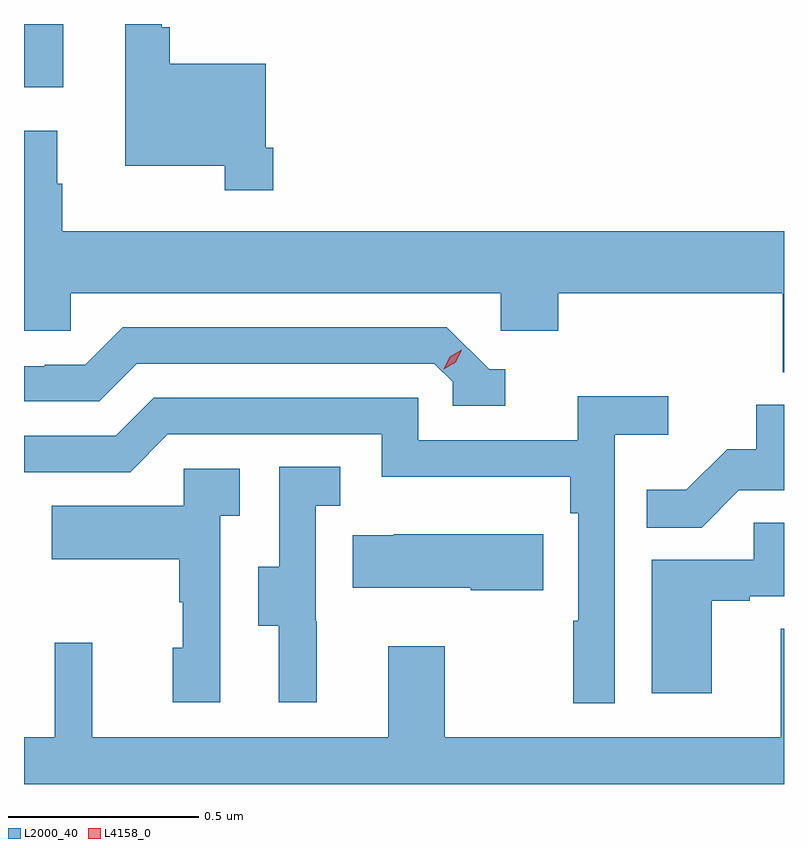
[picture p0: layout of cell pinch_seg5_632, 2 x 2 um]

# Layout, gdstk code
import gdstk
lib = gdstk.Library(unit=1e-6, precision=1e-09)
def R(c, l, rs):  # rectangles x0, y0, x1, y1
    for r in rs: c.add(gdstk.rectangle(r[:2], r[2:], *l))
def P(c, l, *ps):  # polygons
    for p in ps: c.add(gdstk.Polygon(p, *l))
L2000_40 = (2000, 40)
L4158_0 = (4158, 0)

pinch_seg5_632 = lib.new_cell('pinch_seg5_632')
R(pinch_seg5_632, L2000_40, [(1013.508,863.963,1013.611,864.129)])
P(pinch_seg5_632, L2000_40, [(1014.164,863.803),(1014.144,863.803),(1014.144,864.025),(1013.891,864.025),(1013.891,864.121),(1013.871,864.121),(1013.871,864.129),(1013.774,864.129),(1013.774,863.756),(1014.036,863.756),(1014.036,863.691),(1014.164,863.691)],
  [(1015.508,863.584),(1013.608,863.584),(1013.608,863.708),(1013.596,863.708),(1013.596,863.848),(1013.508,863.848),(1013.508,863.322),(1013.631,863.322),(1013.631,863.42),(1014.762,863.42),(1014.762,863.322),(1014.914,863.322),(1014.914,863.42),(1015.505,863.42),(1015.505,863.212),(1015.508,863.212)],
  [(1014.775,863.22),(1014.732,863.22),(1014.621,863.331),(1013.768,863.331),(1013.669,863.232),(1013.562,863.232),(1013.562,863.229),(1013.508,863.229),(1013.508,863.136),(1013.706,863.136),(1013.805,863.235),(1014.588,863.235),(1014.636,863.187),(1014.636,863.124),(1014.775,863.124)],
  [(1015.062,863.048),(1015.204,863.048),(1015.204,863.15),(1014.965,863.15),(1014.965,863.034),(1014.546,863.034),(1014.546,863.145),(1013.849,863.145),(1013.75,863.046),(1013.508,863.046),(1013.508,862.95),(1013.787,862.95),(1013.886,863.049),(1014.45,863.049),(1014.45,862.937),(1014.946,862.937),(1014.946,862.841),(1014.966,862.841),(1014.966,862.559),(1014.954,862.559),(1014.954,862.341),(1015.062,862.341)],
  [(1015.389,862.902),(1015.508,862.902),(1015.508,863.127),(1015.435,863.127),(1015.435,863.01),(1015.358,863.01),(1015.251,862.903),(1015.147,862.903),(1015.147,862.804),(1015.291,862.804)],
  [(1014.278,862.557),(1014.276,862.557),(1014.276,862.861),(1014.34,862.861),(1014.34,862.964),(1014.18,862.964),(1014.18,862.701),(1014.125,862.701),(1014.125,862.546),(1014.179,862.546),(1014.179,862.344),(1014.278,862.344)],
  [(1014.024,862.835),(1014.076,862.835),(1014.076,862.959),(1013.928,862.959),(1013.928,862.861),(1013.581,862.861),(1013.581,862.721),(1013.916,862.721),(1013.916,862.607),(1013.926,862.607),(1013.926,862.488),(1013.9,862.488),(1013.9,862.344),(1014.024,862.344)],
  [(1015.318,862.611),(1015.418,862.611),(1015.418,862.623),(1015.508,862.623),(1015.508,862.817),(1015.429,862.817),(1015.429,862.719),(1015.16,862.719),(1015.16,862.368),(1015.318,862.368)],
  [(1014.874,862.786),(1014.481,862.786),(1014.481,862.783),(1014.373,862.783),(1014.373,862.646),(1014.683,862.646),(1014.683,862.639),(1014.874,862.639)],
  [(1015.508,862.538),(1015.499,862.538),(1015.499,862.252),(1014.615,862.252),(1014.615,862.492),(1014.467,862.492),(1014.467,862.252),(1013.687,862.252),(1013.687,862.501),(1013.589,862.501),(1013.589,862.252),(1013.508,862.252),(1013.508,862.129),(1015.508,862.129)])
P(pinch_seg5_632, L4158_0, [(1014.612,863.22),(1014.612,863.221),(1014.629,863.253),(1014.66,863.272),(1014.66,863.272),(1014.66,863.272),(1014.644,863.239),(1014.613,863.22)])

lib.write_gds('pinch_seg5_632.gds')
